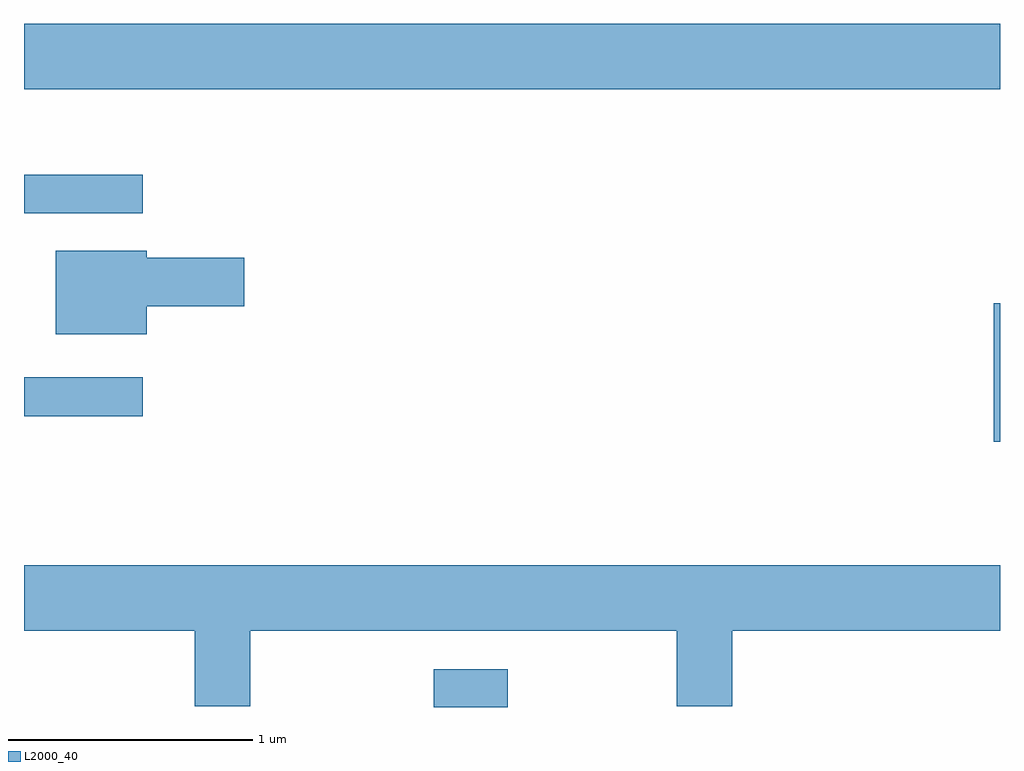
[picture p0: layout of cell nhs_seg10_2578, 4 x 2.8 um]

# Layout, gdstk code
import gdstk
lib = gdstk.Library(unit=1e-6, precision=1e-09)
def R(c, l, rs):  # rectangles x0, y0, x1, y1
    for r in rs: c.add(gdstk.rectangle(r[:2], r[2:], *l))
def P(c, l, *ps):  # polygons
    for p in ps: c.add(gdstk.Polygon(p, *l))
L2000_40 = (2000, 40)

nhs_seg10_2578 = lib.new_cell('nhs_seg10_2578')
R(nhs_seg10_2578, L2000_40, [(263.291,2082.522,263.594,2082.679), (265.586,2083.611,265.611,2084.179), (261.611,2083.716,262.098,2083.874), (261.611,2084.546,262.098,2084.704), (261.611,2085.056,265.611,2085.324)])
P(nhs_seg10_2578, L2000_40, [(262.114,2084.166),(262.514,2084.166),(262.514,2084.364),(262.114,2084.364),(262.114,2084.394),(261.741,2084.394),(261.741,2084.051),(262.114,2084.051)],
  [(262.539,2082.836),(264.286,2082.836),(264.286,2082.526),(264.514,2082.526),(264.514,2082.836),(265.611,2082.836),(265.611,2083.104),(261.611,2083.104),(261.611,2082.836),(262.311,2082.836),(262.311,2082.526),(262.539,2082.526)])

lib.write_gds('nhs_seg10_2578.gds')
